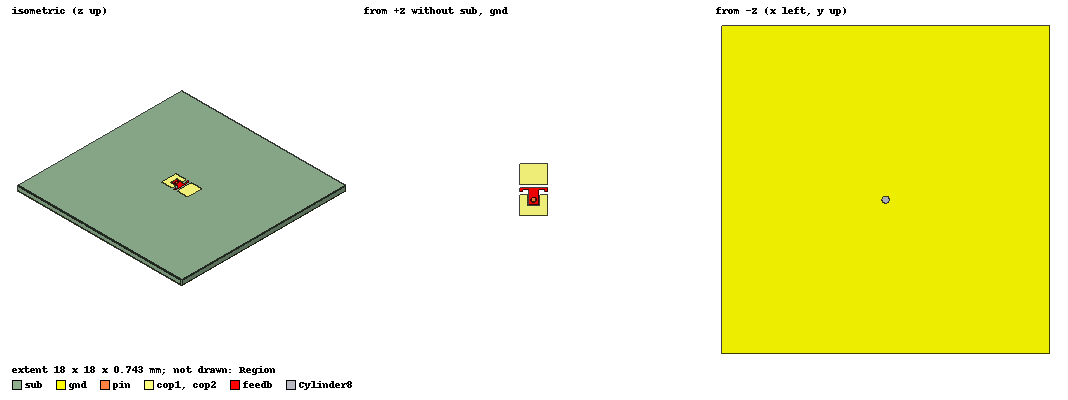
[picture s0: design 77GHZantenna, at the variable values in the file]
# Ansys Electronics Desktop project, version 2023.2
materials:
  vacuum: permittivity=1
  Rogers RT/duroid 5880 (tm): permittivity=2.2 dielectric_loss_tangent=0.0009
  copper: permeability=0.999991 conductivity=58000000
  pec: conductivity=1e+30
  air: permittivity=1.0006 permeability=1.0000004

design 77GHZantenna (HFSS, HFSS Modal Network, model units mm)
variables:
  w = 1.55mm
  h = 0.508mm
  tcop = 0.0175mm
  l1 = 1.15mm
  l2 = 0.55mm
  gndw = 18mm
  r1 = 0.125mm
  via_offset = l2/2+d1
  viagap = 0.55mm
  ws = wp+g3
  ls = lp+offset
  wp = 0.55mm
  lp = 0.85mm
  e2 = 0.19mm
  offset = -0.01mm
  e1 = 0.16mm
  lsub = 0.08mm
  d = -0.01mm
  d1 = 0.27mm
  g3 = 0.15mm
  g4 = 0.05mm
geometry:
  sub [Rogers RT/duroid 5880 (tm)] = box(corner=(-gndw/2, -gndw/2, 0mm), size=(gndw, gndw, h))
  cop1 [copper] = box(corner=(-w/2, -l2/2-l1, h), size=(w, l1, tcop))
  cop2 [copper] = box(corner=(-w/2, l2/2, h), size=(w, l1, tcop))
  via1_1 [copper] = cylinder(axis=Z, base_centre=(0mm, via_offset, 0), radius=r1+0.02mm, height=h)
  via2_1 [copper] = cylinder(axis=Z, base_centre=(-viagap, via_offset, 0), radius=r1+0.02mm, height=h)
  via3_1 [copper] = cylinder(axis=Z, base_centre=(viagap, via_offset, 0), radius=r1+0.02mm, height=h)
  vialeft [copper] = via2_1.duplicate_mirror(point=(0mm, 0mm, 0mm), normal=(0mm, -1mm, 0mm))
  vialeft_1 [copper] = via3_1.duplicate_mirror(point=(0mm, 0mm, 0mm), normal=(0mm, -1mm, 0mm))
  via10 = cylinder(axis=Z, base_centre=(0mm, via_offset, -tcop), radius=r1, height=h+2*tcop)
  via11 = cylinder(axis=Z, base_centre=(- viagap, via_offset, -tcop), radius=r1, height=h+2*tcop)
  via12 = cylinder(axis=Z, base_centre=(viagap, via_offset, -tcop), radius=r1, height=h+2*tcop)
  via12_1 = via12.duplicate_mirror(point=(0mm, -5.7843246e-05mm, 0mm), normal=(0mm, -1mm, 0mm))
  via11_1 = via11.duplicate_mirror(point=(0mm, -5.7843246e-05mm, 0mm), normal=(0mm, -1mm, 0mm))
  sub.subtract(via10, via11, via11_1, via12, via12_1)
  Box1 = box(corner=(-ws/2, -l2/2, h), size=(ws, -(lp-l2/2+g4), tcop))
  feeda = box(corner=(-wp/2, -lp, h), size=(wp, lp, tcop))
  feedb [copper] = box(corner=(-w/2, offset-e2/2, h), size=(w, e2, tcop))
  subtract = box(corner=(-(w-2*e1)/2, offset-e2/2, h), size=(w-2*e1, lsub, tcop))
  feedb.subtract(subtract)
  Cylinder5 = cylinder(axis=Z, base_centre=(0mm, -via_offset+d, -tcop), radius=r1, height=h+2*tcop)
  Cylinder6 [copper] = cylinder(axis=Z, base_centre=(0mm, -via_offset+d, -tcop), radius=r1+0.02mm, height=h+2*tcop)
  Cylinder6_1 = Cylinder6.copy()
  feeda.subtract(Cylinder6_1)
  Cylinder6_3 = Cylinder6.copy()
  sub.subtract(Cylinder6_3)
  pin [copper] = cylinder(axis=Z, base_centre=(0mm, -via_offset+d, -tcop-0.1mm), radius=r1, height=h+0.1mm)
  vialeft_2 = vialeft.copy()
  vialeft_1_1 = vialeft_1.copy()
  sub.subtract(vialeft_2, vialeft_1_1)
  Region [air] = region(absolute_offset=2mm on all sides)
  Cylinder6.subtract(Cylinder5)
  via1_1_3 = via1_1.copy()
  via2_1_3 = via2_1.copy()
  via3_1_3 = via3_1.copy()
  sub.subtract(via1_1_3, via2_1_3, via3_1_3)
  Cylinder7 [vacuum] = cylinder(axis=Z, base_centre=(0mm, -via_offset +d, -tcop-0.1mm), radius=0.2mm, height=0.1mm)
  Cylinder8 [pec] = cylinder(axis=Z, base_centre=(0mm, -via_offset+d, -tcop-0.2mm), radius=0.2mm, height=0.1mm)
  pin_1 = pin.copy()
  Cylinder7.subtract(pin_1)
  feedb.unite(feeda)
  gnd [copper] = box(corner=(-gndw/2, -gndw/2, -tcop), size=(gndw, gndw, tcop))
  Cylinder14 = cylinder(axis=Z, base_centre=(0mm, -via_offset+d, -tcop), radius=0.2mm, height=tcop)
  Cylinder15 = cylinder(axis=Z, base_centre=(0mm, -via_offset+d, h), radius=r1+0.02mm, height=tcop)
  Cylinder6.subtract(Cylinder15)
  Cylinder21 = cylinder(axis=Z, base_centre=(0mm, -via_offset+d, -tcop), radius=r1+0.02mm, height=tcop)
  Cylinder6.subtract(Cylinder21)
  gnd.subtract(Cylinder14)
  cop1.subtract(Box1)
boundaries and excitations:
  Rad1: Radiation Objects=Region
  PerfE2: Perfect E Faces=Cylinder7.face(side)
  1: Lumped Port Faces=Cylinder7.face(-z end) LumpedPortType=Modal Modes{Mode1{IntLine{(0, -0.43, -0.1175) -> (0, -0.355, -0.1175)} CharImp=Zpi RenormImp=50ohm}} Impedance=50ohm
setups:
  Setup1: HfssDriven Frequency=77GHz MaxDeltaS=0.05 MaximumPasses=15 MinimumPasses=1 MinimumConvergedPasses=1 PercentRefinement=30 BasisOrder=1 PortAccuracy=2 DrivenSolverType="Direct Solver"
    sweep Sweep: 60GHz to 100GHz, 100 points; Type=Fast SaveFields
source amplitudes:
  1:1: 1W 0deg
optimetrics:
  ParametricSetup1: Parametric Sim._Setups=[Setup1]
    sweep e2: LIN 0.18mm 0.2mm 0.01mm
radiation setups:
  Infinite Sphere1: Infinite Sphere Theta=0deg..180deg step 2deg Phi=-180deg..180deg step 2deg
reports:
  Gain Plot 1: dB(GainTotal) vs Freq on Setup1 : Sweep, Infinite Sphere1 [Phi=0deg Theta=0deg]
  S Parameter Plot 1: dB(S(1,1)) vs Freq on Setup1 : Sweep [e2=all]; markers MY1 at y=-15
